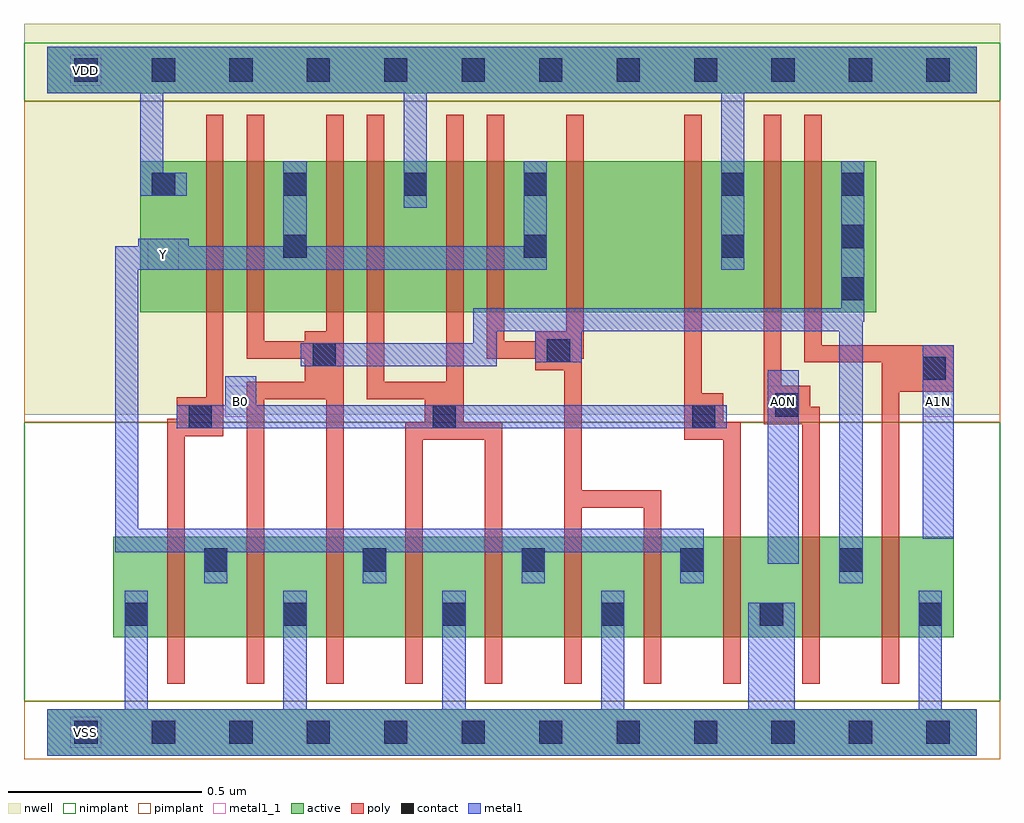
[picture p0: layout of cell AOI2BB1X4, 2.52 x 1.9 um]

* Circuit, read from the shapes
.subckt AOI2BB1X4 A0N A1N B0 VDD VSS Y
M1 Y B0 VSS VSS nfet w=0.26u l=0.045u m=4
M2 VSS n1 Y VSS nfet w=0.26u l=0.045u m=4
M3 n1 A0N VSS VSS nfet w=0.26u l=0.045u
M4 VSS A1N n1 VSS nfet w=0.26u l=0.045u
M5 n2 B0 VDD VDD pfet w=0.39u l=0.045u
M6 Y n1 n2 VDD pfet w=0.39u l=0.045u
M7 n3 n1 Y VDD pfet w=0.39u l=0.045u
M8 VDD B0 n3 VDD pfet w=0.39u l=0.045u
M9 n4 B0 VDD VDD pfet w=0.39u l=0.045u
M10 Y n1 n4 VDD pfet w=0.39u l=0.045u
M11 n5 n1 Y VDD pfet w=0.39u l=0.045u
M12 VDD B0 n5 VDD pfet w=0.39u l=0.045u
M13 n6 A0N VDD VDD pfet w=0.39u l=0.045u
M14 n1 A1N n6 VDD pfet w=0.39u l=0.045u
.ends

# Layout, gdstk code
import gdstk
lib = gdstk.Library(unit=1e-6, precision=5e-10)
def R(c, l, rs):  # rectangles x0, y0, x1, y1
    for r in rs: c.add(gdstk.rectangle(r[:2], r[2:], *l))
def A(c, l, x, y, w, h, nx, ny, dx, dy):  # array of equal rectangles
    R(c, l, [(x+i*dx, y+j*dy, x+i*dx+w, y+j*dy+h) for i in range(nx) for j in range(ny)])
def P(c, l, *ps):  # polygons
    for p in ps: c.add(gdstk.Polygon(p, *l))
active = (1, 0)
nwell = (2, 0)
poly = (3, 0)
nimplant = (4, 0)
pimplant = (5, 0)
contact = (6, 0)
metal1 = (7, 0)
metal1_1 = (7, 1)

aoi2bb1x4 = lib.new_cell('AOI2BB1X4')
R(aoi2bb1x4, active, [(0,-0.06,2.4,0.06), (0.17,0.245,2.34,0.505), (0.24,1.085,2.14,1.475), (0,1.65,2.4,1.77)])
R(aoi2bb1x4, nwell, [(-0.06,0.82,2.46,1.83)])
P(aoi2bb1x4, poly, [(0.41,1.595),(0.455,1.595),(0.455,0.765),(0.355,0.765),(0.355,0.125),(0.31,0.125),(0.31,0.81),(0.335,0.81),(0.335,0.865),(0.41,0.865)],
  [(0.515,1.595),(0.56,1.595),(0.56,1.01),(0.665,1.01),(0.665,1.035),(0.72,1.035),(0.72,1.595),(0.765,1.595),(0.765,0.125),(0.72,0.125),(0.72,0.86),(0.56,0.86),(0.56,0.125),(0.515,0.125),(0.515,0.905),(0.665,0.905),(0.665,0.965),(0.515,0.965)],
  [(0.825,1.595),(0.87,1.595),(0.87,0.905),(1.03,0.905),(1.03,1.595),(1.075,1.595),(1.075,0.8),(1.175,0.8),(1.175,0.125),(1.13,0.125),(1.13,0.755),(0.97,0.755),(0.97,0.125),(0.925,0.125),(0.925,0.8),(0.975,0.8),(0.975,0.86),(0.825,0.86)],
  [(1.135,1.595),(1.18,1.595),(1.18,1.01),(1.26,1.01),(1.26,1.035),(1.34,1.035),(1.34,1.595),(1.385,1.595),(1.385,0.965),(1.38,0.965),(1.38,0.625),(1.585,0.625),(1.585,0.125),(1.54,0.125),(1.54,0.58),(1.38,0.58),(1.38,0.125),(1.335,0.125),(1.335,0.935),(1.26,0.935),(1.26,0.965),(1.135,0.965)],
  [(1.645,1.595),(1.69,1.595),(1.69,0.875),(1.745,0.875),(1.745,0.8),(1.79,0.8),(1.79,0.125),(1.745,0.125),(1.745,0.755),(1.645,0.755)],
  [(1.85,1.595),(1.895,1.595),(1.895,0.895),(1.97,0.895),(1.97,0.84),(1.995,0.84),(1.995,0.125),(1.95,0.125),(1.95,0.795),(1.85,0.795)],
  [(1.955,1.595),(2,1.595),(2,1),(2.34,1),(2.34,0.88),(2.2,0.88),(2.2,0.125),(2.155,0.125),(2.155,0.955),(1.955,0.955)])
R(aoi2bb1x4, nimplant, [(-0.06,0.08,2.46,0.8), (-0.06,1.63,2.46,1.78)])
R(aoi2bb1x4, pimplant, [(-0.06,-0.07,2.46,0.08), (-0.06,0.8,2.46,1.63)])
A(aoi2bb1x4, contact, 0.07, -0.03, 0.06, 0.06, 12, 2, 0.2, 1.71)
A(aoi2bb1x4, contact, 0.2, 0.275, 0.06, 0.06, 6, 1, 0.41, 0)
A(aoi2bb1x4, contact, 0.405, 0.415, 0.06, 0.06, 5, 1, 0.41, 0)
A(aoi2bb1x4, contact, 2.05, 1.115, 0.06, 0.06, 1, 3, 0, 0.135)
A(aoi2bb1x4, contact, 0.61, 1.385, 0.06, 0.06, 3, 1, 0.31, 0)
R(aoi2bb1x4, contact, [(0.365,0.785,0.425,0.845), (0.995,0.785,1.055,0.845), (1.665,0.785,1.725,0.845), (1.88,0.815,1.94,0.875), (2.26,0.91,2.32,0.97), (0.685,0.945,0.745,1.005), (1.29,0.955,1.35,1.015), (0.61,1.225,0.67,1.285), (1.23,1.225,1.29,1.285), (1.74,1.225,1.8,1.285), (0.27,1.385,0.33,1.445), (1.74,1.385,1.8,1.445)])
R(aoi2bb1x4, metal1, [(1.86,0.435,1.94,0.935), (2.26,0.5,2.34,1)])
P(aoi2bb1x4, metal1, [(0,1.77),(2.4,1.77),(2.4,1.65),(1.8,1.65),(1.8,1.195),(1.74,1.195),(1.74,1.65),(0.98,1.65),(0.98,1.355),(0.92,1.355),(0.92,1.65),(0.3,1.65),(0.3,1.445),(0.36,1.445),(0.36,1.385),(0.24,1.385),(0.24,1.65),(0,1.65)],
  [(0.235,1.275),(0.365,1.275),(0.365,1.255),(0.61,1.255),(0.61,1.475),(0.67,1.475),(0.67,1.255),(1.23,1.255),(1.23,1.475),(1.29,1.475),(1.29,1.195),(0.235,1.195),(0.235,0.525),(1.695,0.525),(1.695,0.385),(1.635,0.385),(1.635,0.465),(1.285,0.465),(1.285,0.385),(1.225,0.385),(1.225,0.465),(0.875,0.465),(0.875,0.385),(0.815,0.385),(0.815,0.465),(0.465,0.465),(0.465,0.385),(0.405,0.385),(0.405,0.465),(0.175,0.465),(0.175,1.255),(0.235,1.255)],
  [(2.05,1.475),(2.11,1.475),(2.11,1.06),(2.105,1.06),(2.105,0.385),(2.045,0.385),(2.045,1.035),(1.38,1.035),(1.38,0.955),(1.26,0.955),(1.26,1.035),(1.16,1.035),(1.16,0.945),(0.655,0.945),(0.655,1.005),(1.1,1.005),(1.1,1.095),(2.05,1.095)],
  [(0.46,0.92),(0.54,0.92),(0.54,0.845),(1.755,0.845),(1.755,0.785),(0.335,0.785),(0.335,0.845),(0.46,0.845)],
  [(0.2,0.365),(0.26,0.365),(0.26,0.06),(0.61,0.06),(0.61,0.365),(0.67,0.365),(0.67,0.06),(1.02,0.06),(1.02,0.365),(1.08,0.365),(1.08,0.06),(1.43,0.06),(1.43,0.365),(1.49,0.365),(1.49,0.06),(1.81,0.06),(1.81,0.335),(1.93,0.335),(1.93,0.06),(2.25,0.06),(2.25,0.365),(2.31,0.365),(2.31,0.06),(2.4,0.06),(2.4,-0.06),(0,-0.06),(0,0.06),(0.2,0.06)])
R(aoi2bb1x4, metal1_1, [(0.06,-0.04,0.14,0.04), (0.46,0.815,0.54,0.895), (1.86,0.815,1.94,0.895), (2.26,0.815,2.34,0.895), (0.26,1.195,0.34,1.275), (0.06,1.67,0.14,1.75)])
aoi2bb1x4.add(gdstk.Label('Y', (0.3,1.235), layer=7, texttype=1))
aoi2bb1x4.add(gdstk.Label('A0N', (1.9,0.855), layer=7, texttype=1))
aoi2bb1x4.add(gdstk.Label('A1N', (2.3,0.855), layer=7, texttype=1))
aoi2bb1x4.add(gdstk.Label('B0', (0.5,0.855), layer=7, texttype=1))
aoi2bb1x4.add(gdstk.Label('VDD', (0.1,1.71), layer=7, texttype=1))
aoi2bb1x4.add(gdstk.Label('VSS', (0.1,0), layer=7, texttype=1))
aoi2bb1x4.add(gdstk.Label('AOI2BB1X4', (0,0), layer=63, texttype=0))

lib.write_gds('AOI2BB1X4.gds')
